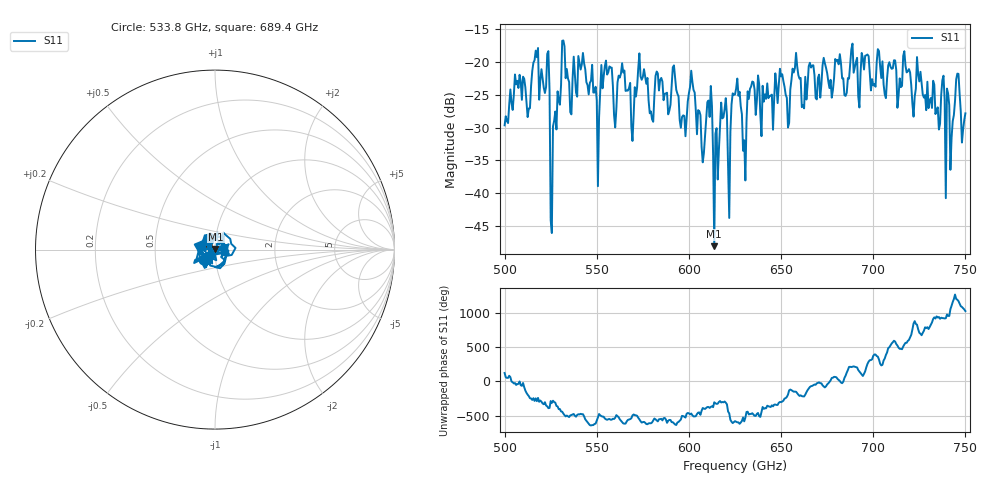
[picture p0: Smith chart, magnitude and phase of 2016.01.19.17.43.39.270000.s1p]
!Created with skrf (http://scikit-rf.org).
# GHz S RI R 50.0
!freq ReS11 ImS11
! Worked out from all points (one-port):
!   401 points, 500 GHz to 750 GHz, reference 50 ohm
!   lowest |S11| = -48.1 dB at 613.8 GHz (marker M1), VSWR 1.01, Z = 50.2 + j0.321 ohm
!   |S11| at or under -10 dB: start of sweep to end of sweep
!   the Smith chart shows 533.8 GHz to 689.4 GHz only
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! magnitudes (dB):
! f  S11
! 500 GHz  -29.7
! 506.9 GHz  -22.9
! 513.1 GHz  -27.1
! 516.9 GHz  -18.3
! 523.1 GHz  -18.8
! 526.2 GHz  -29.8
! 531.2 GHz  -16.8
! 542.5 GHz  -18.6
! 550 GHz  -25.9
! 553.8 GHz  -22.2
! 562.5 GHz  -22.4
! 570 GHz  -28.2
! 573.8 GHz  -22.2
! 579.4 GHz  -27.5
! 593.8 GHz  -24.8
! 601.9 GHz  -23.0
! 608.1 GHz  -33.9
! 611.2 GHz  -28.4
! 613.8 GHz  -48.1
! 618.8 GHz  -28.4
! 621.9 GHz  -43.8
! 625 GHz  -24.9
! 630 GHz  -31.9
! 634.4 GHz  -23.0
! 656.2 GHz  -21.0
! 687.5 GHz  -20.4
! 718.8 GHz  -21.4
! 750 GHz  -27.8
